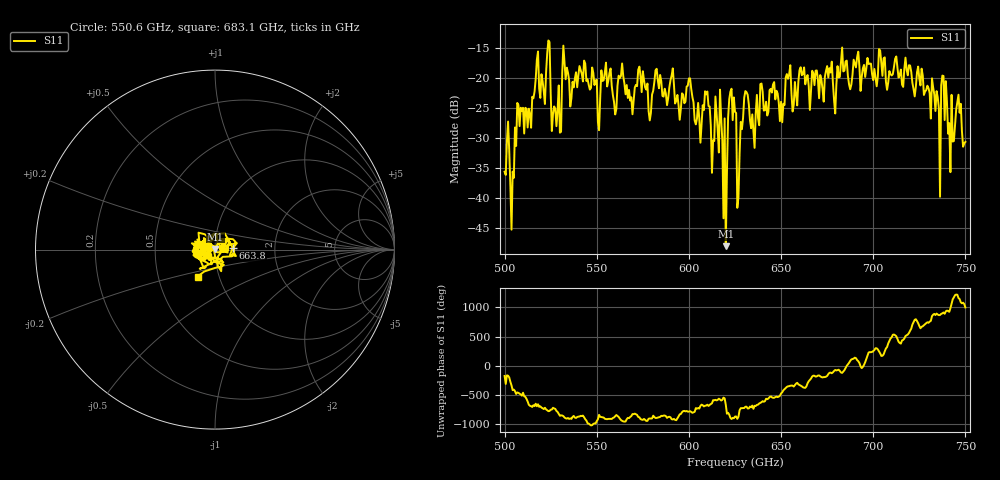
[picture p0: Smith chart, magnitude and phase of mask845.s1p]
!Created with skrf (http://scikit-rf.org).
# GHz S MA R 50.0
!freq magS11 angS11
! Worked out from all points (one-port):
!   401 points, 500 GHz to 750 GHz, reference 50 ohm
!   lowest |S11| = -48.0 dB at 620 GHz (marker M1), VSWR 1.01, Z = 50.3 + j0.309 ohm
!   |S11| at or under -10 dB: start of sweep to end of sweep
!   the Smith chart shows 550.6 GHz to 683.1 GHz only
!   S11 on the Smith chart (normalised r, x): 550.6 GHz: 0.92, +0.03; 663.8 GHz: 1.22, +0.02; 683.1 GHz: 0.79, -0.24
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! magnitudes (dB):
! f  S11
! 500 GHz  -35.6
! 503.8 GHz  -45.3
! 508.1 GHz  -28.0
! 517.5 GHz  -17.0
! 523.8 GHz  -13.8
! 526.9 GHz  -24.8
! 531.2 GHz  -19.3
! 542.5 GHz  -20.6
! 550.6 GHz  -27.3
! 562.5 GHz  -20.1
! 593.8 GHz  -22.8
! 610 GHz  -22.3
! 620 GHz  -48.0
! 622.5 GHz  -22.3
! 625 GHz  -25.6
! 627.5 GHz  -32.6
! 631.2 GHz  -22.4
! 634.4 GHz  -26.1
! 656.2 GHz  -25.6
! 663.8 GHz  -20.0
! 683.1 GHz  -14.9
! 687.5 GHz  -21.9
! 718.8 GHz  -19.6
! 735 GHz  -23.3
! 738.1 GHz  -19.7
! 742.5 GHz  -22.8
! 746.2 GHz  -22.8
! 750 GHz  -30.7
